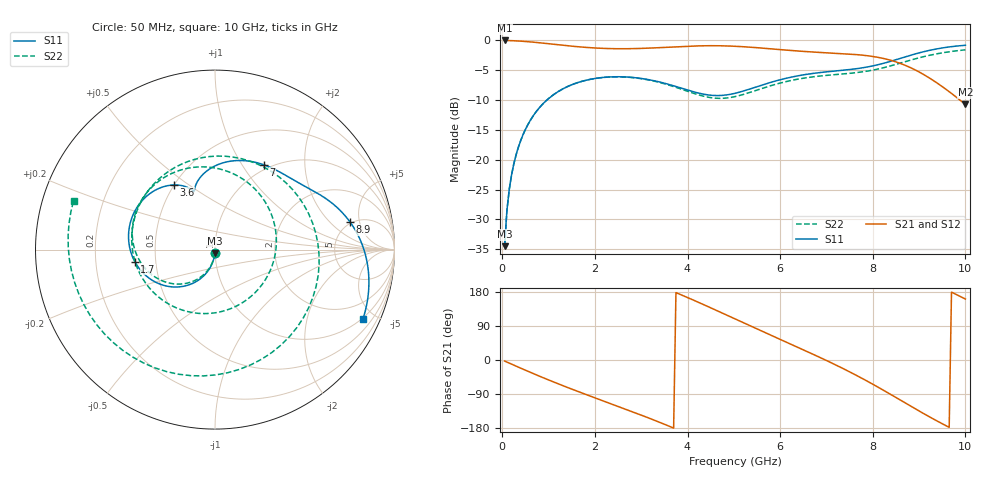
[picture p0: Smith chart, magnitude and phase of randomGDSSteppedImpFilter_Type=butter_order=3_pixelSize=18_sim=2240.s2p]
! freq	dB(S11)	phase(S11)	dB(S12)	phase(S12)
!  dB(S21)	phase(S21)	dB(S22)	phase(S22)
!S-par simulation data
#  GHz  S  DB  R 50
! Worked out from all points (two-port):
!   200 points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, 50 MHz to 10 GHz, reference 50 ohm
!   highest |S21| = -0.01 dB at 50 MHz (marker M1); lowest = -10.7 dB at 10 GHz (marker M2)
!   |S21| within 3 dB of the highest: start of sweep to 8.22 GHz
!   lowest |S11| = -34.5 dB at 50 MHz (marker M3), VSWR 1.04, Z = 49.9 - j1.88 ohm
!   |S11| at or under -10 dB: start of sweep to 963 MHz
!   |S22| runs from -34.5 to -1.6 dB; largest |S21 - S12| = 0
!   S11 on the Smith chart (normalised r, x): 50 MHz: 1.00, -0.04; 1.7 GHz: 0.38, -0.06; 3.6 GHz: 0.50, +0.44; 7 GHz: 0.93, +1.25; 8.9 GHz: 4.79, +3.61; 10 GHz: 0.94, -4.27
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0.05  -34.50 -92.7  -0.01 -2.8  -0.01 -2.8  -34.50 -93.0
0.1  -28.50 -95.5  -0.02 -5.5  -0.02 -5.5  -28.50 -95.9
0.2  -22.55 -100.8  -0.04 -10.9  -0.04 -10.9  -22.55 -101.8
0.5  -14.92 -116.3  -0.18 -27.0  -0.18 -27.0  -14.92 -118.7
1.1  -9.14 -145.3  -0.64 -57.6  -0.64 -57.6  -9.14 -151.1
1.7  -6.90 -171.5  -1.10 -86.1  -1.10 -86.1  -6.90 178.1
1.75  -6.79 -173.5  -1.13 -88.4  -1.13 -88.4  -6.80 175.5
2.5  -6.09 157.5  -1.39 -122.4  -1.39 -122.4  -6.11 136.8
3.4  -6.98 127.8  -1.21 -164.6  -1.21 -164.6  -7.05 82.6
3.6  -7.38 122.6  -1.13 -174.6  -1.13 -174.6  -7.49 68.2
4.35  -9.02 110.9  -0.90 146.0  -0.90 146.0  -9.36 1.5
5.05  -8.82 108.1  -0.99 107.1  -0.99 107.1  -9.38 -74.2
6  -6.59 89.6  -1.54 54.5  -1.54 54.5  -7.15 -162.0
6.7  -5.54 68.9  -1.94 15.8  -1.94 15.8  -6.11 141.3
7  -5.27 60.1  -2.08 -1.3  -2.08 -1.3  -5.86 115.9
7.65  -4.74 43.3  -2.38 -40.8  -2.38 -40.8  -5.40 53.6
8.05  -4.19 34.3  -2.75 -67.3  -2.75 -67.3  -4.90 9.4
8.35  -3.58 27.3  -3.25 -88.3  -3.25 -88.3  -4.34 -25.8
8.9  -2.30 11.7  -4.88 -127.5  -4.88 -127.5  -3.12 -89.7
9.2  -1.71 1.7  -6.19 -148.4  -6.19 -148.4  -2.54 -122.1
9.5  -1.26 -8.5  -7.74 -168.2  -7.74 -168.2  -2.08 -152.4
10  -0.81 -25.2  -10.74 160.9  -10.74 160.9  -1.58 160.9
